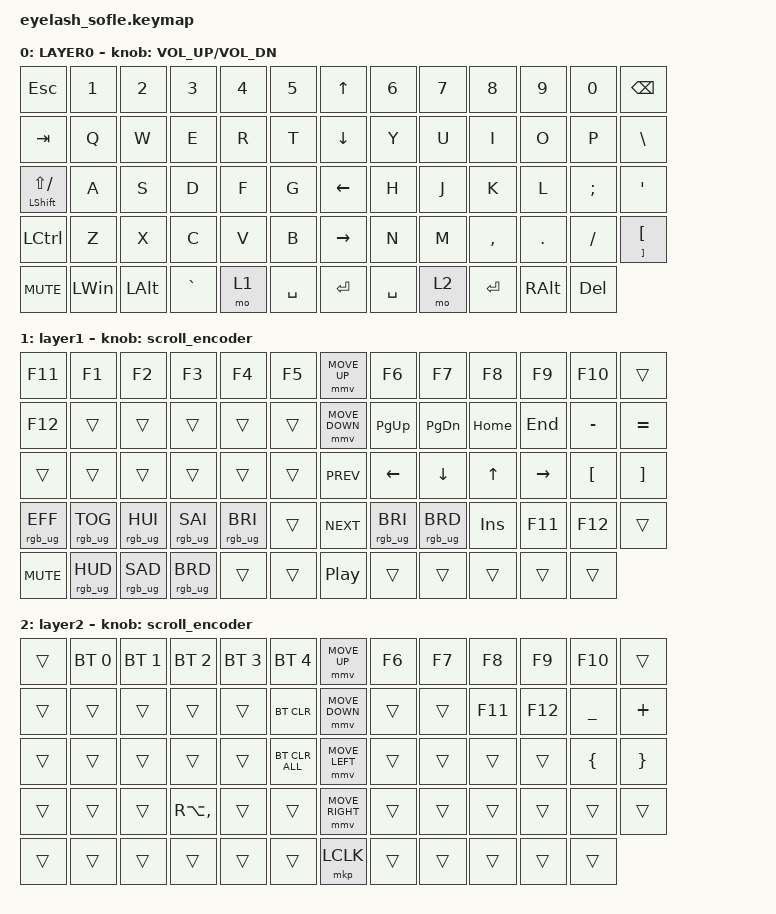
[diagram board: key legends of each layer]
#define ZMK_POINTING_DEFAULT_MOVE_VAL 1200  // 600
#define ZMK_POINTING_DEFAULT_SCRL_VAL 25   // 10

#include <input/processors.dtsi>
#include <zephyr/dt-bindings/input/input-event-codes.h>
#include <behaviors.dtsi>
#include <dt-bindings/zmk/bt.h>
#include <dt-bindings/zmk/keys.h>
#include <dt-bindings/zmk/pointing.h>
#include <dt-bindings/zmk/rgb.h>

&mmv_input_listener { input-processors = <&zip_xy_scaler 2 1>; };

&msc_input_listener { input-processors = <&zip_scroll_scaler 2 1>; };

&msc {
    acceleration-exponent = <1>;      // 0
    time-to-max-speed-ms = <100>;       // 300
    delay-ms = <0>;                   // 0
};

&mmv {
    time-to-max-speed-ms = <500>;
    acceleration-exponent = <1>;
    trigger-period-ms = <16>;
};

/ {
    scroll_encoder: scroll_encoder {
        compatible = "zmk,behavior-sensor-rotate";
        #sensor-binding-cells = <0>;
        bindings = <&msc SCRL_DOWN>, <&msc SCRL_UP>;

        tap-ms = <100>;
    };

    behaviors {
    };

    keymap {
        compatible = "zmk,keymap";

        layer0 {
            bindings = <
&kp ESC                  &kp N1        &kp N2        &kp N3     &kp N4  &kp N5       &kp UP_ARROW     &kp N6     &kp N7  &kp N8     &kp N9         &kp N0      &kp BACKSPACE
&kp TAB                  &kp Q         &kp W         &kp E      &kp R   &kp T        &kp DOWN_ARROW   &kp Y      &kp U   &kp I      &kp O          &kp P       &kp BSLH
&mt LEFT_SHIFT LS(FSLH)  &kp A         &kp S         &kp D      &kp F   &kp G        &kp LEFT_ARROW   &kp H      &kp J   &kp K      &kp L          &kp SEMI    &kp APOS
&kp LCTRL                &kp Z         &kp X         &kp C      &kp V   &kp B        &kp RIGHT_ARROW  &kp N      &kp M   &kp COMMA  &kp DOT        &kp FSLH    &mt RIGHT_BRACKET LEFT_BRACKET
&kp C_MUTE               &kp LEFT_WIN  &kp LEFT_ALT  &kp GRAVE  &mo 1   &kp SPACE    &kp ENTER        &kp SPACE  &mo 2   &kp ENTER  &kp RIGHT_ALT  &kp DELETE
            >;

            sensor-bindings = <&inc_dec_kp C_VOLUME_UP C_VOL_DN>;
            display-name = "LAYER0";
        };

        layer_1 {
            bindings = <
&kp F11          &kp F1           &kp F2           &kp F3           &kp F4           &kp F5    &mmv MOVE_UP      &kp F6           &kp F7           &kp F8        &kp F9     &kp F10           &trans
&kp F12          &trans           &trans           &trans           &trans           &trans    &mmv MOVE_DOWN    &kp PG_UP        &kp PAGE_DOWN    &kp HOME      &kp END    &kp MINUS         &kp EQUAL
&trans           &trans           &trans           &trans           &trans           &trans    &kp C_PREV        &kp LEFT         &kp DOWN         &kp UP_ARROW  &kp RIGHT  &kp LEFT_BRACKET  &kp RIGHT_BRACKET
&rgb_ug RGB_EFF  &rgb_ug RGB_TOG  &rgb_ug RGB_HUI  &rgb_ug RGB_SAI  &rgb_ug RGB_BRI  &trans    &kp C_NEXT        &rgb_ug RGB_BRI  &rgb_ug RGB_BRD  &kp INSERT    &kp F11    &kp F12           &trans
&kp C_MUTE       &rgb_ug RGB_HUD  &rgb_ug RGB_SAD  &rgb_ug RGB_BRD  &trans           &trans    &kp C_PLAY_PAUSE  &trans           &trans           &trans        &trans     &trans
            >;

            display-name = "layer1";
            sensor-bindings = <&scroll_encoder>;
        };

        layer_2 {
            bindings = <
&trans  &bt BT_SEL 0  &bt BT_SEL 1  &bt BT_SEL 2   &bt BT_SEL 3  &bt BT_SEL 4      &mmv MOVE_UP     &kp F6  &kp F7  &kp F8   &kp F9   &kp F10    &trans
&trans  &trans        &trans        &trans         &trans        &bt BT_CLR        &mmv MOVE_DOWN   &trans  &trans  &kp F11  &kp F12  &kp UNDER  &kp PLUS
&trans  &trans        &trans        &trans         &trans        &bt BT_CLR_ALL    &mmv MOVE_LEFT   &trans  &trans  &trans   &trans   &kp LBRC   &kp RBRC
&trans  &trans        &trans        &kp RA(COMMA)  &trans        &trans            &mmv MOVE_RIGHT  &trans  &trans  &trans   &trans   &trans     &trans
&trans  &trans        &trans        &trans         &trans        &trans            &mkp LCLK        &trans  &trans  &trans   &trans   &trans
            >;

            sensor-bindings = <&scroll_encoder>;
            label = "layer2";
        };
    };
};
